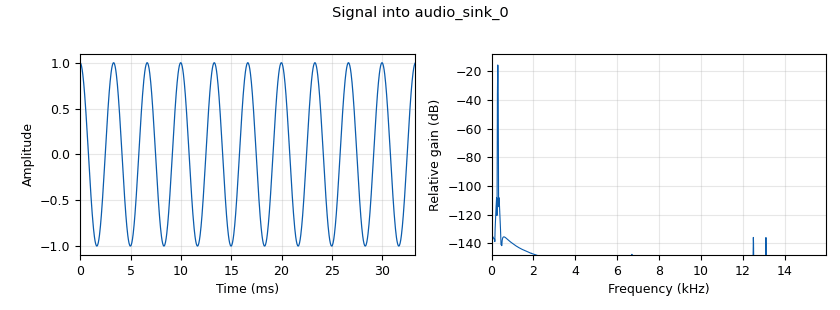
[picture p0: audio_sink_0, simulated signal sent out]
<?xml version='1.0' encoding='utf-8'?>
<?grc format='1' created='3.7.8'?>
<flow_graph>
<block>
<key>options</key>
<param><key>id</key><value>top_block</value></param>
<param><key>category</key><value>Custom</value></param>
<param><key>generate_options</key><value>qt_gui</value></param>
</block>
<block>
<key>variable_function_probe</key>
<param><key>id</key><value>center_freq</value></param>
<param><key>block_id</key><value>freq_sweep_probe</value></param>
<param><key>function_name</key><value>level</value></param>
<param><key>poll_rate</key><value>10</value></param>
<param><key>value</key><value>0</value></param>
</block>
<block>
<key>variable</key>
<param><key>id</key><value>samp_rate</value></param>
<param><key>value</key><value>32000</value></param>
</block>
<block>
<key>analog_sig_source_x</key>
<param><key>id</key><value>analog_sig_source_x_0</value></param>
<param><key>amp</key><value>3</value></param>
<param><key>freq</key><value>0.1</value></param>
<param><key>offset</key><value>0</value></param>
<param><key>type</key><value>int</value></param>
<param><key>samp_rate</key><value>samp_rate</value></param>
<param><key>waveform</key><value>analog.GR_SAW_WAVE</value></param>
</block>
<block>
<key>analog_sig_source_x</key>
<param><key>id</key><value>analog_sig_source_x_1</value></param>
<param><key>amp</key><value>1</value></param>
<param><key>freq</key><value>center_freq*300+300</value></param>
<param><key>offset</key><value>0</value></param>
<param><key>type</key><value>float</value></param>
<param><key>samp_rate</key><value>samp_rate</value></param>
<param><key>waveform</key><value>analog.GR_COS_WAVE</value></param>
</block>
<block>
<key>audio_sink</key>
<param><key>id</key><value>audio_sink_0</value></param>
<param><key>samp_rate</key><value>samp_rate</value></param>
</block>
<block>
<key>blocks_int_to_float</key>
<param><key>id</key><value>blocks_int_to_float_0</value></param>
<param><key>_enabled</key><value>0</value></param>
<param><key>scale</key><value>1</value></param>
</block>
<block>
<key>blocks_int_to_float</key>
<param><key>id</key><value>blocks_int_to_float_1</value></param>
<param><key>scale</key><value>1</value></param>
</block>
<block>
<key>blocks_throttle</key>
<param><key>id</key><value>blocks_throttle_0</value></param>
<param><key>samples_per_second</key><value>samp_rate</value></param>
<param><key>type</key><value>int</value></param>
</block>
<block>
<key>blocks_probe_signal_x</key>
<param><key>id</key><value>freq_sweep_probe</value></param>
<param><key>type</key><value>float</value></param>
</block>
<block>
<key>qtgui_histogram_sink_x</key>
<param><key>id</key><value>qtgui_histogram_sink_x_0</value></param>
<param><key>_enabled</key><value>0</value></param>
<param><key>xmax</key><value>1</value></param>
<param><key>xmin</key><value>-1</value></param>
<param><key>bins</key><value>100</value></param>
<param><key>size</key><value>1024</value></param>
</block>
<block>
<key>qtgui_time_sink_x</key>
<param><key>id</key><value>qtgui_time_sink_x_0</value></param>
<param><key>autoscale</key><value>True</value></param>
<param><key>_enabled</key><value>0</value></param>
<param><key>color1</key><value>"blue"</value></param>
<param><key>label1</key><value></value></param>
<param><key>size</key><value>1024</value></param>
<param><key>srate</key><value>samp_rate</value></param>
<param><key>type</key><value>float</value></param>
</block>
<connection><source_block_id>analog_sig_source_x_0</source_block_id><sink_block_id>blocks_throttle_0</sink_block_id><source_key>0</source_key><sink_key>0</sink_key></connection>
<connection><source_block_id>analog_sig_source_x_1</source_block_id><sink_block_id>audio_sink_0</sink_block_id><source_key>0</source_key><sink_key>0</sink_key></connection>
<connection><source_block_id>blocks_int_to_float_0</source_block_id><sink_block_id>qtgui_time_sink_x_0</sink_block_id><source_key>0</source_key><sink_key>0</sink_key></connection>
<connection><source_block_id>blocks_int_to_float_1</source_block_id><sink_block_id>freq_sweep_probe</sink_block_id><source_key>0</source_key><sink_key>0</sink_key></connection>
<connection><source_block_id>blocks_throttle_0</source_block_id><sink_block_id>blocks_int_to_float_0</sink_block_id><source_key>0</source_key><sink_key>0</sink_key></connection>
<connection><source_block_id>blocks_throttle_0</source_block_id><sink_block_id>blocks_int_to_float_1</sink_block_id><source_key>0</source_key><sink_key>0</sink_key></connection>
</flow_graph>
